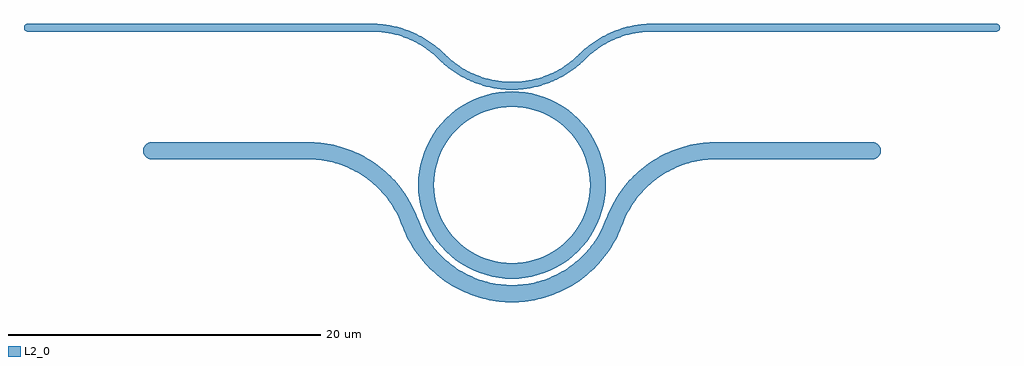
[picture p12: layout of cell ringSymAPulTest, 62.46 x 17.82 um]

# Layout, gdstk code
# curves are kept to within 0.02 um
import gdstk
lib = gdstk.Library(unit=1e-6, precision=1e-09)
def P(c, l, *ps):  # polygons
    for p in ps: c.add(gdstk.Polygon(p, *l))
L2_0 = (2, 0)

ringsymapultest = lib.new_cell('ringSymAPulTest')
P(ringsymapultest, L2_0, [(0,-6),(-0.854,-5.939),(-1.275,-5.863),(-2.097,-5.622),(-2.492,-5.458),(-3.244,-5.048),(-3.596,-4.803),(-4.243,-4.243),(-4.803,-3.596),(-5.048,-3.244),(-5.458,-2.492),(-5.622,-2.097),(-5.863,-1.275),(-5.939,-0.854),(-6,0),(-5.939,0.854),(-5.863,1.275),(-5.622,2.097),(-5.458,2.492),(-5.048,3.244),(-4.803,3.596),(-4.243,4.243),(-3.596,4.803),(-3.244,5.048),(-2.492,5.458),(-2.097,5.622),(-1.275,5.863),(-0.854,5.939),(0,6),(0.854,5.939),(1.275,5.863),(2.097,5.622),(2.492,5.458),(3.244,5.048),(3.596,4.803),(4.243,4.243),(4.803,3.596),(5.048,3.244),(5.458,2.492),(5.622,2.097),(5.863,1.275),(5.939,0.854),(6,0),(5,0),(4.949,0.712),(4.886,1.063),(4.685,1.747),(4.388,2.396),(4.003,2.996),(3.536,3.536),(2.996,4.003),(2.396,4.388),(1.747,4.685),(1.063,4.886),(0.357,4.987),(-0.357,4.987),(-1.063,4.886),(-1.747,4.685),(-2.396,4.388),(-2.996,4.003),(-3.536,3.536),(-4.003,2.996),(-4.206,2.703),(-4.548,2.077),(-4.797,1.409),(-4.949,0.712),(-5,0),(-4.949,-0.712),(-4.886,-1.063),(-4.685,-1.747),(-4.548,-2.077),(-4.206,-2.703),(-3.779,-3.274),(-3.536,-3.536),(-2.996,-4.003),(-2.396,-4.388),(-1.747,-4.685),(-1.063,-4.886),(-0.712,-4.949),(0,-5),(0.712,-4.949),(1.063,-4.886),(1.747,-4.685),(2.077,-4.548),(2.703,-4.206),(2.996,-4.003),(3.536,-3.536),(4.003,-2.996),(4.388,-2.396),(4.685,-1.747),(4.886,-1.063),(4.949,-0.712),(5,0),(6,0),(5.939,-0.854),(5.863,-1.275),(5.622,-2.097),(5.458,-2.492),(5.048,-3.244),(4.803,-3.596),(4.243,-4.243),(3.596,-4.803),(3.244,-5.048),(2.492,-5.458),(2.097,-5.622),(1.275,-5.863),(0.854,-5.939)],
  [(0,6.1),(-0.706,6.138),(-1.403,6.251),(-2.084,6.438),(-2.742,6.696),(-3.368,7.024),(-3.86,7.347),(-4.322,7.712),(-5.238,8.537),(-5.962,9.021),(-6.546,9.313),(-7.054,9.508),(-7.577,9.656),(-8.112,9.758),(-8.98,9.82),(-30.98,9.82),(-30.98,10.32),(-8.98,10.32),(-8.041,10.253),(-7.348,10.115),(-6.785,9.944),(-6.239,9.723),(-5.714,9.455),(-5.216,9.141),(-4.839,8.859),(-3.995,8.09),(-3.568,7.752),(-3.019,7.399),(-2.534,7.151),(-1.926,6.912),(-1.297,6.739),(-0.652,6.635),(0,6.6)],
  [(0,6.1),(0,6.6),(0.652,6.635),(1.297,6.739),(1.926,6.912),(2.534,7.151),(3.019,7.399),(3.568,7.752),(3.995,8.09),(4.839,8.859),(5.216,9.141),(5.714,9.455),(6.239,9.723),(6.785,9.944),(7.348,10.115),(8.041,10.253),(8.98,10.32),(30.98,10.32),(30.98,9.82),(8.98,9.82),(8.112,9.758),(7.577,9.656),(7.054,9.508),(6.546,9.313),(5.962,9.021),(5.238,8.537),(4.322,7.712),(3.86,7.347),(3.368,7.024),(2.742,6.696),(2.084,6.438),(1.403,6.251),(0.706,6.138)],
  [(-30.98,9.82),(-31.078,9.839),(-31.157,9.893),(-31.211,9.972),(-31.23,10.07),(-31.211,10.167),(-31.157,10.247),(-31.078,10.3),(-30.98,10.32)],
  [(30.98,9.82),(30.98,10.32),(31.078,10.3),(31.157,10.247),(31.211,10.167),(31.23,10.07),(31.211,9.972),(31.157,9.893),(31.078,9.839)],
  [(0,-7.5),(-0.624,-7.474),(-1.244,-7.396),(-1.855,-7.267),(-2.453,-7.088),(-3.034,-6.859),(-3.594,-6.583),(-4.13,-6.261),(-4.798,-5.764),(-5.261,-5.345),(-5.688,-4.889),(-6.309,-4.055),(-6.81,-3.143),(-7.178,-2.235),(-7.408,-1.754),(-7.776,-1.146),(-8.094,-0.719),(-8.572,-0.193),(-9.247,0.385),(-9.84,0.776),(-10.473,1.099),(-11.137,1.35),(-11.652,1.489),(-12.176,1.584),(-12.706,1.636),(-23.062,1.646),(-23.062,2.746),(-12.645,2.734),(-12.024,2.674),(-11.409,2.562),(-10.806,2.399),(-10.028,2.105),(-9.286,1.726),(-8.591,1.268),(-7.951,0.735),(-7.374,0.135),(-6.987,-0.355),(-6.537,-1.056),(-6.252,-1.611),(-5.811,-2.682),(-5.384,-3.46),(-4.967,-4.036),(-4.361,-4.684),(-3.815,-5.139),(-3.374,-5.438),(-2.751,-5.779),(-2.26,-5.988),(-1.754,-6.155),(-1.061,-6.311),(-0.533,-6.378),(0,-6.4)],
  [(0,-7.5),(0,-6.4),(0.533,-6.378),(1.061,-6.311),(1.754,-6.155),(2.26,-5.988),(2.751,-5.779),(3.374,-5.438),(3.815,-5.139),(4.361,-4.684),(4.967,-4.036),(5.384,-3.46),(5.811,-2.682),(6.252,-1.611),(6.537,-1.056),(6.987,-0.355),(7.374,0.135),(7.951,0.735),(8.591,1.268),(9.286,1.726),(10.028,2.105),(10.806,2.399),(11.409,2.562),(12.024,2.674),(12.645,2.734),(23.062,2.746),(23.062,1.646),(12.706,1.636),(12.176,1.584),(11.652,1.489),(11.137,1.35),(10.473,1.099),(9.84,0.776),(9.247,0.385),(8.572,-0.193),(8.094,-0.719),(7.776,-1.146),(7.408,-1.754),(7.178,-2.235),(6.81,-3.143),(6.309,-4.055),(5.688,-4.889),(5.261,-5.345),(4.798,-5.764),(4.302,-6.144),(3.594,-6.583),(3.034,-6.859),(2.453,-7.088),(1.855,-7.267),(1.244,-7.396),(0.624,-7.474)],
  [(-23.062,1.646),(-23.276,1.689),(-23.451,1.807),(-23.569,1.982),(-23.612,2.196),(-23.569,2.41),(-23.451,2.585),(-23.276,2.703),(-23.062,2.746)],
  [(23.062,1.646),(23.062,2.746),(23.276,2.703),(23.451,2.585),(23.569,2.41),(23.612,2.196),(23.569,1.982),(23.451,1.807),(23.276,1.689)])

lib.write_gds('ringSymAPulTest.gds')
